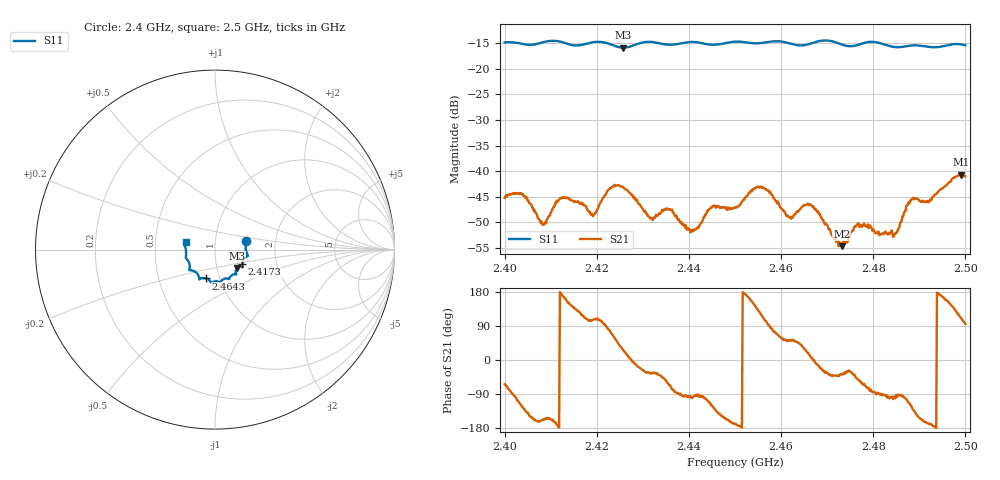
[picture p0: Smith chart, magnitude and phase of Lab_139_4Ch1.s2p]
# Hz S RI R 50
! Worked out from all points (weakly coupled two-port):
!   601 points, 2.4 GHz to 2.5 GHz, reference 50 ohm
!   highest |S21| = -40.69 dB at 2.499 GHz (marker M1); lowest = -54.6 dB at 2.4732 GHz (marker M2)
!   lowest |S11| = -15.9 dB at 2.4257 GHz (marker M3), VSWR 1.38, Z = 62.5 - j13.1 ohm
!   |S11| at or under -10 dB: start of sweep to end of sweep
!   S12 and S22 are empty: the file has one direction only
!   S11 on the Smith chart (normalised r, x): 2.4 GHz: 1.41, +0.14; 2.4173 GHz: 1.34, -0.23; 2.4643 GHz: 0.86, -0.28; 2.5 GHz: 0.72, +0.06
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2.4e9  0.173 0.0497  0.00241 -0.00493  0 0  0 0
2.404e9  0.1721 0.0254  -0.00343 -0.00488  0 0  0 0
2.4085e9  0.18 -0.0249  -0.00275 -0.0012  0 0  0 0
2.412167e9  0.1792 -0.0375  -0.00546 0.000355  0 0  0 0
2.416667e9  0.1528 -0.0744  -0.00235 0.00432  0 0  0 0
2.417333e9  0.1522 -0.0817  -0.00172 0.00429  0 0  0 0
2.419333e9  0.1536 -0.0958  -0.00111 0.00359  0 0  0 0
2.425667e9  0.1228 -0.1023  0.00632 0.00316  0 0  0 0
2.433333e9  0.1131 -0.1371  0.00296 -0.00238  0 0  0 0
2.440833e9  0.0782 -0.1647  -0.000385 -0.00256  0 0  0 0
2.445167e9  0.0545 -0.1619  -0.00242 -0.00388  0 0  0 0
2.45e9  0.0293 -0.1809  -0.00436 -0.000878  0 0  0 0
2.455167e9  0.000437 -0.1769  -0.00435 0.00551  0 0  0 0
2.461667e9  -0.0282 -0.1746  0.00223 0.00284  0 0  0 0
2.464333e9  -0.0499 -0.1607  0.00339 0.0028  0 0  0 0
2.466667e9  -0.0759 -0.1597  0.00452 0.000472  0 0  0 0
2.473167e9  -0.0921 -0.1451  0.00148 -0.00112  0 0  0 0
2.476333e9  -0.1199 -0.1183  0.00198 -0.00218  0 0  0 0
2.483333e9  -0.1405 -0.09  -0.000325 -0.00247  0 0  0 0
2.488167e9  -0.1603 -0.05  -0.00264 -0.00443  0 0  0 0
2.499e9  -0.1688 0.0367  -0.00336 0.0086  0 0  0 0
2.5e9  -0.1637 0.0427  -0.000788 0.00889  0 0  0 0
